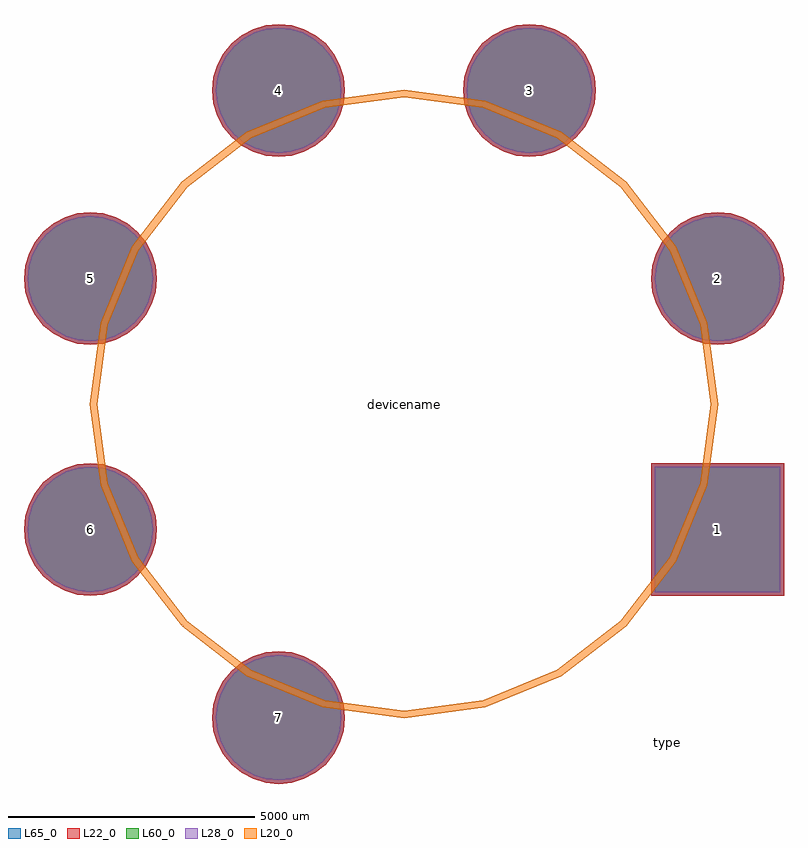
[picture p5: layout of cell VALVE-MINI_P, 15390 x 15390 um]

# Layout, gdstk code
import gdstk
lib = gdstk.Library(unit=1e-6, precision=1e-09)
def R(c, l, rs):  # rectangles x0, y0, x1, y1
    for r in rs: c.add(gdstk.rectangle(r[:2], r[2:], *l))
def P(c, l, *ps):  # polygons
    for p in ps: c.add(gdstk.Polygon(p, *l))
L20_0 = (20, 0)
L22_0 = (22, 0)
L28_0 = (28, 0)
L60_0 = (60, 0)
L65_0 = (65, 0)

valve_mini_p = lib.new_cell('VALVE-MINI_P')
R(valve_mini_p, L22_0, [(5005,-3885,7695,-1195)])
P(valve_mini_p, L22_0, [(-1195,-6350),(-1220.844,-6087.604),(-1297.382,-5835.291),(-1421.673,-5602.758),(-1588.941,-5398.941),(-1792.758,-5231.673),(-2025.291,-5107.382),(-2277.604,-5030.844),(-2540,-5005),(-2802.396,-5030.844),(-3054.709,-5107.382),(-3287.242,-5231.673),(-3491.059,-5398.941),(-3658.327,-5602.758),(-3782.618,-5835.291),(-3859.156,-6087.604),(-3885,-6350),(-3859.156,-6612.396),(-3782.618,-6864.709),(-3658.327,-7097.242),(-3491.059,-7301.059),(-3287.242,-7468.327),(-3054.709,-7592.618),(-2802.396,-7669.156),(-2540,-7695),(-2277.604,-7669.156),(-2025.291,-7592.618),(-1792.758,-7468.327),(-1588.941,-7301.059),(-1421.673,-7097.242),(-1297.382,-6864.709),(-1220.844,-6612.396)],
  [(-5005,-2540),(-5030.844,-2277.604),(-5107.382,-2025.291),(-5231.673,-1792.758),(-5398.941,-1588.941),(-5602.758,-1421.673),(-5835.291,-1297.382),(-6087.604,-1220.844),(-6350,-1195),(-6612.396,-1220.844),(-6864.709,-1297.382),(-7097.242,-1421.673),(-7301.059,-1588.941),(-7468.327,-1792.758),(-7592.618,-2025.291),(-7669.156,-2277.604),(-7695,-2540),(-7669.156,-2802.396),(-7592.618,-3054.709),(-7468.327,-3287.242),(-7301.059,-3491.059),(-7097.242,-3658.327),(-6864.709,-3782.618),(-6612.396,-3859.156),(-6350,-3885),(-6087.604,-3859.156),(-5835.291,-3782.618),(-5602.758,-3658.327),(-5398.941,-3491.059),(-5231.673,-3287.242),(-5107.382,-3054.709),(-5030.844,-2802.396)],
  [(-5005,2540),(-5030.844,2802.396),(-5107.382,3054.709),(-5231.673,3287.242),(-5398.941,3491.059),(-5602.758,3658.327),(-5835.291,3782.618),(-6087.604,3859.156),(-6350,3885),(-6612.396,3859.156),(-6864.709,3782.618),(-7097.242,3658.327),(-7301.059,3491.059),(-7468.327,3287.242),(-7592.618,3054.709),(-7669.156,2802.396),(-7695,2540),(-7669.156,2277.604),(-7592.618,2025.291),(-7468.327,1792.758),(-7301.059,1588.941),(-7097.242,1421.673),(-6864.709,1297.382),(-6612.396,1220.844),(-6350,1195),(-6087.604,1220.844),(-5835.291,1297.382),(-5602.758,1421.673),(-5398.941,1588.941),(-5231.673,1792.758),(-5107.382,2025.291),(-5030.844,2277.604)],
  [(-1195,6350),(-1220.844,6612.396),(-1297.382,6864.709),(-1421.673,7097.242),(-1588.941,7301.059),(-1792.758,7468.327),(-2025.291,7592.618),(-2277.604,7669.156),(-2540,7695),(-2802.396,7669.156),(-3054.709,7592.618),(-3287.242,7468.327),(-3491.059,7301.059),(-3658.327,7097.242),(-3782.618,6864.709),(-3859.156,6612.396),(-3885,6350),(-3859.156,6087.604),(-3782.618,5835.291),(-3658.327,5602.758),(-3491.059,5398.941),(-3287.242,5231.673),(-3054.709,5107.382),(-2802.396,5030.844),(-2540,5005),(-2277.604,5030.844),(-2025.291,5107.382),(-1792.758,5231.673),(-1588.941,5398.941),(-1421.673,5602.758),(-1297.382,5835.291),(-1220.844,6087.604)],
  [(3885,6350),(3859.156,6612.396),(3782.618,6864.709),(3658.327,7097.242),(3491.059,7301.059),(3287.242,7468.327),(3054.709,7592.618),(2802.396,7669.156),(2540,7695),(2277.604,7669.156),(2025.291,7592.618),(1792.758,7468.327),(1588.941,7301.059),(1421.673,7097.242),(1297.382,6864.709),(1220.844,6612.396),(1195,6350),(1220.844,6087.604),(1297.382,5835.291),(1421.673,5602.758),(1588.941,5398.941),(1792.758,5231.673),(2025.291,5107.382),(2277.604,5030.844),(2540,5005),(2802.396,5030.844),(3054.709,5107.382),(3287.242,5231.673),(3491.059,5398.941),(3658.327,5602.758),(3782.618,5835.291),(3859.156,6087.604)],
  [(7695,2540),(7669.156,2802.396),(7592.618,3054.709),(7468.327,3287.242),(7301.059,3491.059),(7097.242,3658.327),(6864.709,3782.618),(6612.396,3859.156),(6350,3885),(6087.604,3859.156),(5835.291,3782.618),(5602.758,3658.327),(5398.941,3491.059),(5231.673,3287.242),(5107.382,3054.709),(5030.844,2802.396),(5005,2540),(5030.844,2277.604),(5107.382,2025.291),(5231.673,1792.758),(5398.941,1588.941),(5602.758,1421.673),(5835.291,1297.382),(6087.604,1220.844),(6350,1195),(6612.396,1220.844),(6864.709,1297.382),(7097.242,1421.673),(7301.059,1588.941),(7468.327,1792.758),(7592.618,2025.291),(7669.156,2277.604)])
R(valve_mini_p, L28_0, [(5080,-3810,7620,-1270)])
P(valve_mini_p, L28_0, [(-1270,-6350),(-1294.403,-6102.235),(-1366.673,-5863.992),(-1484.034,-5644.426),(-1641.974,-5451.974),(-1834.426,-5294.034),(-2053.992,-5176.673),(-2292.235,-5104.403),(-2540,-5080),(-2787.765,-5104.403),(-3026.008,-5176.673),(-3245.574,-5294.034),(-3438.026,-5451.974),(-3595.966,-5644.426),(-3713.327,-5863.992),(-3785.597,-6102.235),(-3810,-6350),(-3785.597,-6597.765),(-3713.327,-6836.008),(-3595.966,-7055.574),(-3438.026,-7248.026),(-3245.574,-7405.966),(-3026.008,-7523.327),(-2787.765,-7595.597),(-2540,-7620),(-2292.235,-7595.597),(-2053.992,-7523.327),(-1834.426,-7405.966),(-1641.974,-7248.026),(-1484.034,-7055.574),(-1366.673,-6836.008),(-1294.403,-6597.765)],
  [(-5080,-2540),(-5104.403,-2292.235),(-5176.673,-2053.992),(-5294.034,-1834.426),(-5451.974,-1641.974),(-5644.426,-1484.034),(-5863.992,-1366.673),(-6102.235,-1294.403),(-6350,-1270),(-6597.765,-1294.403),(-6836.008,-1366.673),(-7055.574,-1484.034),(-7248.026,-1641.974),(-7405.966,-1834.426),(-7523.327,-2053.992),(-7595.597,-2292.235),(-7620,-2540),(-7595.597,-2787.765),(-7523.327,-3026.008),(-7405.966,-3245.574),(-7248.026,-3438.026),(-7055.574,-3595.966),(-6836.008,-3713.327),(-6597.765,-3785.597),(-6350,-3810),(-6102.235,-3785.597),(-5863.992,-3713.327),(-5644.426,-3595.966),(-5451.974,-3438.026),(-5294.034,-3245.574),(-5176.673,-3026.008),(-5104.403,-2787.765)],
  [(-5080,2540),(-5104.403,2787.765),(-5176.673,3026.008),(-5294.034,3245.574),(-5451.974,3438.026),(-5644.426,3595.966),(-5863.992,3713.327),(-6102.235,3785.597),(-6350,3810),(-6597.765,3785.597),(-6836.008,3713.327),(-7055.574,3595.966),(-7248.026,3438.026),(-7405.966,3245.574),(-7523.327,3026.008),(-7595.597,2787.765),(-7620,2540),(-7595.597,2292.235),(-7523.327,2053.992),(-7405.966,1834.426),(-7248.026,1641.974),(-7055.574,1484.034),(-6836.008,1366.673),(-6597.765,1294.403),(-6350,1270),(-6102.235,1294.403),(-5863.992,1366.673),(-5644.426,1484.034),(-5451.974,1641.974),(-5294.034,1834.426),(-5176.673,2053.992),(-5104.403,2292.235)],
  [(-1270,6350),(-1294.403,6597.765),(-1366.673,6836.008),(-1484.034,7055.574),(-1641.974,7248.026),(-1834.426,7405.966),(-2053.992,7523.327),(-2292.235,7595.597),(-2540,7620),(-2787.765,7595.597),(-3026.008,7523.327),(-3245.574,7405.966),(-3438.026,7248.026),(-3595.966,7055.574),(-3713.327,6836.008),(-3785.597,6597.765),(-3810,6350),(-3785.597,6102.235),(-3713.327,5863.992),(-3595.966,5644.426),(-3438.026,5451.974),(-3245.574,5294.034),(-3026.008,5176.673),(-2787.765,5104.403),(-2540,5080),(-2292.235,5104.403),(-2053.992,5176.673),(-1834.426,5294.034),(-1641.974,5451.974),(-1484.034,5644.426),(-1366.673,5863.992),(-1294.403,6102.235)],
  [(3810,6350),(3785.597,6597.765),(3713.327,6836.008),(3595.966,7055.574),(3438.026,7248.026),(3245.574,7405.966),(3026.008,7523.327),(2787.765,7595.597),(2540,7620),(2292.235,7595.597),(2053.992,7523.327),(1834.426,7405.966),(1641.974,7248.026),(1484.034,7055.574),(1366.673,6836.008),(1294.403,6597.765),(1270,6350),(1294.403,6102.235),(1366.673,5863.992),(1484.034,5644.426),(1641.974,5451.974),(1834.426,5294.034),(2053.992,5176.673),(2292.235,5104.403),(2540,5080),(2787.765,5104.403),(3026.008,5176.673),(3245.574,5294.034),(3438.026,5451.974),(3595.966,5644.426),(3713.327,5863.992),(3785.597,6102.235)],
  [(7620,2540),(7595.597,2787.765),(7523.327,3026.008),(7405.966,3245.574),(7248.026,3438.026),(7055.574,3595.966),(6836.008,3713.327),(6597.765,3785.597),(6350,3810),(6102.235,3785.597),(5863.992,3713.327),(5644.426,3595.966),(5451.974,3438.026),(5294.034,3245.574),(5176.673,3026.008),(5104.403,2787.765),(5080,2540),(5104.403,2292.235),(5176.673,2053.992),(5294.034,1834.426),(5451.974,1641.974),(5644.426,1484.034),(5863.992,1366.673),(6102.235,1294.403),(6350,1270),(6597.765,1294.403),(6836.008,1366.673),(7055.574,1484.034),(7248.026,1641.974),(7405.966,1834.426),(7523.327,2053.992),(7595.597,2292.235)])
R(valve_mini_p, L60_0, [(5080,-3810,7620,-1270)])
P(valve_mini_p, L60_0, [(-1270,-6350),(-1294.403,-6102.235),(-1366.673,-5863.992),(-1484.034,-5644.426),(-1641.974,-5451.974),(-1834.426,-5294.034),(-2053.992,-5176.673),(-2292.235,-5104.403),(-2540,-5080),(-2787.765,-5104.403),(-3026.008,-5176.673),(-3245.574,-5294.034),(-3438.026,-5451.974),(-3595.966,-5644.426),(-3713.327,-5863.992),(-3785.597,-6102.235),(-3810,-6350),(-3785.597,-6597.765),(-3713.327,-6836.008),(-3595.966,-7055.574),(-3438.026,-7248.026),(-3245.574,-7405.966),(-3026.008,-7523.327),(-2787.765,-7595.597),(-2540,-7620),(-2292.235,-7595.597),(-2053.992,-7523.327),(-1834.426,-7405.966),(-1641.974,-7248.026),(-1484.034,-7055.574),(-1366.673,-6836.008),(-1294.403,-6597.765)],
  [(-5080,-2540),(-5104.403,-2292.235),(-5176.673,-2053.992),(-5294.034,-1834.426),(-5451.974,-1641.974),(-5644.426,-1484.034),(-5863.992,-1366.673),(-6102.235,-1294.403),(-6350,-1270),(-6597.765,-1294.403),(-6836.008,-1366.673),(-7055.574,-1484.034),(-7248.026,-1641.974),(-7405.966,-1834.426),(-7523.327,-2053.992),(-7595.597,-2292.235),(-7620,-2540),(-7595.597,-2787.765),(-7523.327,-3026.008),(-7405.966,-3245.574),(-7248.026,-3438.026),(-7055.574,-3595.966),(-6836.008,-3713.327),(-6597.765,-3785.597),(-6350,-3810),(-6102.235,-3785.597),(-5863.992,-3713.327),(-5644.426,-3595.966),(-5451.974,-3438.026),(-5294.034,-3245.574),(-5176.673,-3026.008),(-5104.403,-2787.765)],
  [(-5080,2540),(-5104.403,2787.765),(-5176.673,3026.008),(-5294.034,3245.574),(-5451.974,3438.026),(-5644.426,3595.966),(-5863.992,3713.327),(-6102.235,3785.597),(-6350,3810),(-6597.765,3785.597),(-6836.008,3713.327),(-7055.574,3595.966),(-7248.026,3438.026),(-7405.966,3245.574),(-7523.327,3026.008),(-7595.597,2787.765),(-7620,2540),(-7595.597,2292.235),(-7523.327,2053.992),(-7405.966,1834.426),(-7248.026,1641.974),(-7055.574,1484.034),(-6836.008,1366.673),(-6597.765,1294.403),(-6350,1270),(-6102.235,1294.403),(-5863.992,1366.673),(-5644.426,1484.034),(-5451.974,1641.974),(-5294.034,1834.426),(-5176.673,2053.992),(-5104.403,2292.235)],
  [(-1270,6350),(-1294.403,6597.765),(-1366.673,6836.008),(-1484.034,7055.574),(-1641.974,7248.026),(-1834.426,7405.966),(-2053.992,7523.327),(-2292.235,7595.597),(-2540,7620),(-2787.765,7595.597),(-3026.008,7523.327),(-3245.574,7405.966),(-3438.026,7248.026),(-3595.966,7055.574),(-3713.327,6836.008),(-3785.597,6597.765),(-3810,6350),(-3785.597,6102.235),(-3713.327,5863.992),(-3595.966,5644.426),(-3438.026,5451.974),(-3245.574,5294.034),(-3026.008,5176.673),(-2787.765,5104.403),(-2540,5080),(-2292.235,5104.403),(-2053.992,5176.673),(-1834.426,5294.034),(-1641.974,5451.974),(-1484.034,5644.426),(-1366.673,5863.992),(-1294.403,6102.235)],
  [(3810,6350),(3785.597,6597.765),(3713.327,6836.008),(3595.966,7055.574),(3438.026,7248.026),(3245.574,7405.966),(3026.008,7523.327),(2787.765,7595.597),(2540,7620),(2292.235,7595.597),(2053.992,7523.327),(1834.426,7405.966),(1641.974,7248.026),(1484.034,7055.574),(1366.673,6836.008),(1294.403,6597.765),(1270,6350),(1294.403,6102.235),(1366.673,5863.992),(1484.034,5644.426),(1641.974,5451.974),(1834.426,5294.034),(2053.992,5176.673),(2292.235,5104.403),(2540,5080),(2787.765,5104.403),(3026.008,5176.673),(3245.574,5294.034),(3438.026,5451.974),(3595.966,5644.426),(3713.327,5863.992),(3785.597,6102.235)],
  [(7620,2540),(7595.597,2787.765),(7523.327,3026.008),(7405.966,3245.574),(7248.026,3438.026),(7055.574,3595.966),(6836.008,3713.327),(6597.765,3785.597),(6350,3810),(6102.235,3785.597),(5863.992,3713.327),(5644.426,3595.966),(5451.974,3438.026),(5294.034,3245.574),(5176.673,3026.008),(5104.403,2787.765),(5080,2540),(5104.403,2292.235),(5176.673,2053.992),(5294.034,1834.426),(5451.974,1641.974),(5644.426,1484.034),(5863.992,1366.673),(6102.235,1294.403),(6350,1270),(6597.765,1294.403),(6836.008,1366.673),(7055.574,1484.034),(7248.026,1641.974),(7405.966,1834.426),(7523.327,2053.992),(7595.597,2292.235)])
R(valve_mini_p, L65_0, [(5005,-3885,7695,-1195)])
P(valve_mini_p, L65_0, [(-1195,-6350),(-1220.844,-6087.604),(-1297.382,-5835.291),(-1421.673,-5602.758),(-1588.941,-5398.941),(-1792.758,-5231.673),(-2025.291,-5107.382),(-2277.604,-5030.844),(-2540,-5005),(-2802.396,-5030.844),(-3054.709,-5107.382),(-3287.242,-5231.673),(-3491.059,-5398.941),(-3658.327,-5602.758),(-3782.618,-5835.291),(-3859.156,-6087.604),(-3885,-6350),(-3859.156,-6612.396),(-3782.618,-6864.709),(-3658.327,-7097.242),(-3491.059,-7301.059),(-3287.242,-7468.327),(-3054.709,-7592.618),(-2802.396,-7669.156),(-2540,-7695),(-2277.604,-7669.156),(-2025.291,-7592.618),(-1792.758,-7468.327),(-1588.941,-7301.059),(-1421.673,-7097.242),(-1297.382,-6864.709),(-1220.844,-6612.396)],
  [(-5005,-2540),(-5030.844,-2277.604),(-5107.382,-2025.291),(-5231.673,-1792.758),(-5398.941,-1588.941),(-5602.758,-1421.673),(-5835.291,-1297.382),(-6087.604,-1220.844),(-6350,-1195),(-6612.396,-1220.844),(-6864.709,-1297.382),(-7097.242,-1421.673),(-7301.059,-1588.941),(-7468.327,-1792.758),(-7592.618,-2025.291),(-7669.156,-2277.604),(-7695,-2540),(-7669.156,-2802.396),(-7592.618,-3054.709),(-7468.327,-3287.242),(-7301.059,-3491.059),(-7097.242,-3658.327),(-6864.709,-3782.618),(-6612.396,-3859.156),(-6350,-3885),(-6087.604,-3859.156),(-5835.291,-3782.618),(-5602.758,-3658.327),(-5398.941,-3491.059),(-5231.673,-3287.242),(-5107.382,-3054.709),(-5030.844,-2802.396)],
  [(-5005,2540),(-5030.844,2802.396),(-5107.382,3054.709),(-5231.673,3287.242),(-5398.941,3491.059),(-5602.758,3658.327),(-5835.291,3782.618),(-6087.604,3859.156),(-6350,3885),(-6612.396,3859.156),(-6864.709,3782.618),(-7097.242,3658.327),(-7301.059,3491.059),(-7468.327,3287.242),(-7592.618,3054.709),(-7669.156,2802.396),(-7695,2540),(-7669.156,2277.604),(-7592.618,2025.291),(-7468.327,1792.758),(-7301.059,1588.941),(-7097.242,1421.673),(-6864.709,1297.382),(-6612.396,1220.844),(-6350,1195),(-6087.604,1220.844),(-5835.291,1297.382),(-5602.758,1421.673),(-5398.941,1588.941),(-5231.673,1792.758),(-5107.382,2025.291),(-5030.844,2277.604)],
  [(-1195,6350),(-1220.844,6612.396),(-1297.382,6864.709),(-1421.673,7097.242),(-1588.941,7301.059),(-1792.758,7468.327),(-2025.291,7592.618),(-2277.604,7669.156),(-2540,7695),(-2802.396,7669.156),(-3054.709,7592.618),(-3287.242,7468.327),(-3491.059,7301.059),(-3658.327,7097.242),(-3782.618,6864.709),(-3859.156,6612.396),(-3885,6350),(-3859.156,6087.604),(-3782.618,5835.291),(-3658.327,5602.758),(-3491.059,5398.941),(-3287.242,5231.673),(-3054.709,5107.382),(-2802.396,5030.844),(-2540,5005),(-2277.604,5030.844),(-2025.291,5107.382),(-1792.758,5231.673),(-1588.941,5398.941),(-1421.673,5602.758),(-1297.382,5835.291),(-1220.844,6087.604)],
  [(3885,6350),(3859.156,6612.396),(3782.618,6864.709),(3658.327,7097.242),(3491.059,7301.059),(3287.242,7468.327),(3054.709,7592.618),(2802.396,7669.156),(2540,7695),(2277.604,7669.156),(2025.291,7592.618),(1792.758,7468.327),(1588.941,7301.059),(1421.673,7097.242),(1297.382,6864.709),(1220.844,6612.396),(1195,6350),(1220.844,6087.604),(1297.382,5835.291),(1421.673,5602.758),(1588.941,5398.941),(1792.758,5231.673),(2025.291,5107.382),(2277.604,5030.844),(2540,5005),(2802.396,5030.844),(3054.709,5107.382),(3287.242,5231.673),(3491.059,5398.941),(3658.327,5602.758),(3782.618,5835.291),(3859.156,6087.604)],
  [(7695,2540),(7669.156,2802.396),(7592.618,3054.709),(7468.327,3287.242),(7301.059,3491.059),(7097.242,3658.327),(6864.709,3782.618),(6612.396,3859.156),(6350,3885),(6087.604,3859.156),(5835.291,3782.618),(5602.758,3658.327),(5398.941,3491.059),(5231.673,3287.242),(5107.382,3054.709),(5030.844,2802.396),(5005,2540),(5030.844,2277.604),(5107.382,2025.291),(5231.673,1792.758),(5398.941,1588.941),(5602.758,1421.673),(5835.291,1297.382),(6087.604,1220.844),(6350,1195),(6612.396,1220.844),(6864.709,1297.382),(7097.242,1421.673),(7301.059,1588.941),(7468.327,1792.758),(7592.618,2025.291),(7669.156,2277.604)])
valve_mini_p.add(gdstk.FlexPath([(-4445,-4445),(-3143.09,-5443.991),(-1626.983,-6071.983),(0,-6286.179),(1626.983,-6071.983),(3143.09,-5443.991),(4445,-4445),(5443.991,-3143.09),(6071.983,-1626.983),(6286.179,0),(6071.983,1626.983),(5443.991,3143.09),(4445,4445),(3143.09,5443.991),(1626.983,6071.983),(0,6286.179),(-1626.983,6071.983),(-3143.09,5443.991),(-4445,4445),(-5443.991,3143.09),(-6071.983,1626.983),(-6286.179,0),(-6071.983,-1626.983),(-5443.991,-3143.09),(-4445,-4445)], 149.998, ends="flush", simple_path=True, layer=20, datatype=0))  # L20_0
valve_mini_p.add(gdstk.Label('7', (-2540,-6350), layer=28, texttype=0))
valve_mini_p.add(gdstk.Label('6', (-6350,-2540), layer=28, texttype=0))
valve_mini_p.add(gdstk.Label('5', (-6350,2540), layer=28, texttype=0))
valve_mini_p.add(gdstk.Label('4', (-2540,6350), layer=28, texttype=0))
valve_mini_p.add(gdstk.Label('3', (2540,6350), layer=28, texttype=0))
valve_mini_p.add(gdstk.Label('2', (6350,2540), layer=28, texttype=0))
valve_mini_p.add(gdstk.Label('1', (6350,-2540), layer=28, texttype=0))
valve_mini_p.add(gdstk.Label('7', (-4089.4,-9804.4), layer=9, texttype=0))
valve_mini_p.add(gdstk.Label('6', (-9855.2,-4114.8), layer=9, texttype=0))
valve_mini_p.add(gdstk.Label('5', (-9880.6,4038.6), layer=9, texttype=0))
valve_mini_p.add(gdstk.Label('4', (-3860.8,9829.8), layer=9, texttype=0))
valve_mini_p.add(gdstk.Label('3', (4114.8,9880.6), layer=9, texttype=0))
valve_mini_p.add(gdstk.Label('2', (9855.2,3962.4), layer=9, texttype=0))
valve_mini_p.add(gdstk.Label('1', (9906,-4064), layer=9, texttype=0))
valve_mini_p.add(gdstk.Label('type', (5334,-6858), layer=9, texttype=0))
valve_mini_p.add(gdstk.Label('devicename', (0,0), layer=9, texttype=0))

lib.write_gds('VALVE-MINI_P.gds')
